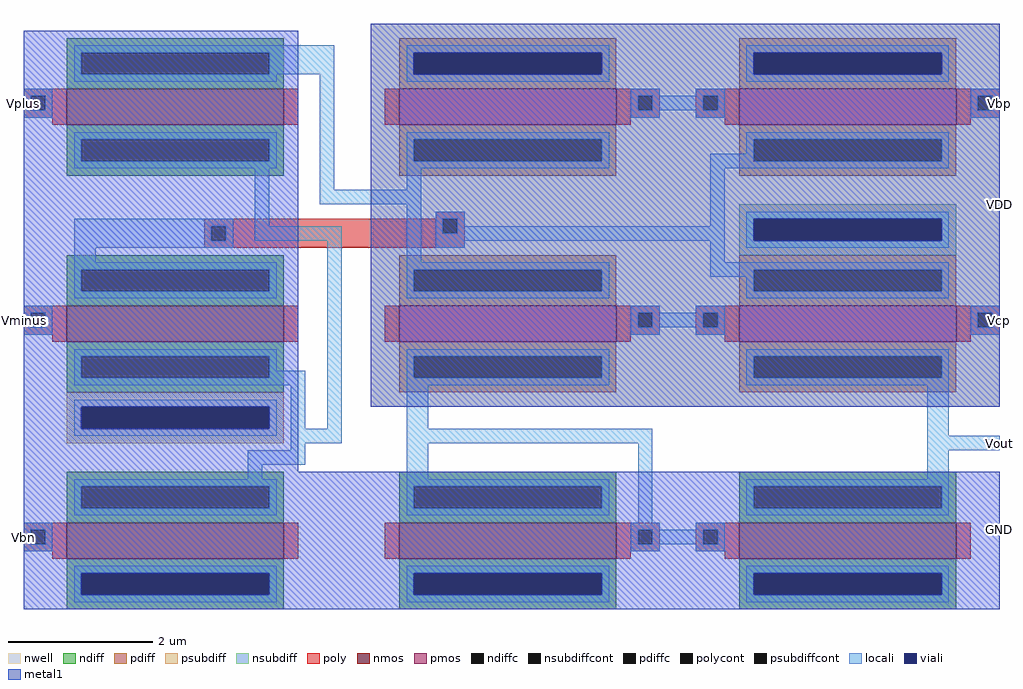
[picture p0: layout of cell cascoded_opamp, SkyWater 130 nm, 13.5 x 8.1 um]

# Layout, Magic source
magic
tech sky130A
<< nwell >>
rect 420 -390 1290 140
<< nmos >>
rect 0 0 300 50
rect 0 -300 300 -250
rect 0 -600 300 -550
rect 460 -600 760 -550
rect 930 -600 1230 -550
<< pmos >>
rect 460 0 760 50
rect 930 0 1230 50
rect 460 -300 760 -250
rect 930 -300 1230 -250
<< ndiff >>
rect 0 100 300 120
rect 0 70 20 100
rect 280 70 300 100
rect 0 50 300 70
rect 0 -20 300 0
rect 0 -50 20 -20
rect 280 -50 300 -20
rect 0 -70 300 -50
rect 0 -200 300 -180
rect 0 -230 20 -200
rect 280 -230 300 -200
rect 0 -250 300 -230
rect 0 -320 300 -300
rect 0 -350 20 -320
rect 280 -350 300 -320
rect 0 -370 300 -350
rect 0 -500 300 -480
rect 0 -530 20 -500
rect 280 -530 300 -500
rect 0 -550 300 -530
rect 460 -500 760 -480
rect 460 -530 480 -500
rect 740 -530 760 -500
rect 460 -550 760 -530
rect 930 -500 1230 -480
rect 930 -530 950 -500
rect 1210 -530 1230 -500
rect 930 -550 1230 -530
rect 0 -620 300 -600
rect 0 -650 20 -620
rect 280 -650 300 -620
rect 0 -670 300 -650
rect 460 -620 760 -600
rect 460 -650 480 -620
rect 740 -650 760 -620
rect 460 -670 760 -650
rect 930 -620 1230 -600
rect 930 -650 950 -620
rect 1210 -650 1230 -620
rect 930 -670 1230 -650
<< pdiff >>
rect 460 100 760 120
rect 460 70 480 100
rect 740 70 760 100
rect 460 50 760 70
rect 930 100 1230 120
rect 930 70 950 100
rect 1210 70 1230 100
rect 930 50 1230 70
rect 460 -20 760 0
rect 460 -50 480 -20
rect 740 -50 760 -20
rect 460 -70 760 -50
rect 930 -20 1230 0
rect 930 -50 950 -20
rect 1210 -50 1230 -20
rect 930 -70 1230 -50
rect 460 -200 760 -180
rect 460 -230 480 -200
rect 740 -230 760 -200
rect 460 -250 760 -230
rect 930 -200 1230 -180
rect 930 -230 950 -200
rect 1210 -230 1230 -200
rect 930 -250 1230 -230
rect 460 -320 760 -300
rect 460 -350 480 -320
rect 740 -350 760 -320
rect 460 -370 760 -350
rect 930 -320 1230 -300
rect 930 -350 950 -320
rect 1210 -350 1230 -320
rect 930 -370 1230 -350
<< ndiffc >>
rect 20 70 280 100
rect 20 -50 280 -20
rect 20 -230 280 -200
rect 20 -350 280 -320
rect 20 -530 280 -500
rect 480 -530 740 -500
rect 950 -530 1210 -500
rect 20 -650 280 -620
rect 480 -650 740 -620
rect 950 -650 1210 -620
<< pdiffc >>
rect 480 70 740 100
rect 950 70 1210 100
rect 480 -50 740 -20
rect 950 -50 1210 -20
rect 480 -230 740 -200
rect 950 -230 1210 -200
rect 480 -350 740 -320
rect 950 -350 1210 -320
<< psubdiff >>
rect 0 -390 300 -370
rect 0 -420 20 -390
rect 280 -420 300 -390
rect 0 -440 300 -420
<< nsubdiff >>
rect 930 -130 1230 -110
rect 930 -160 950 -130
rect 1210 -160 1230 -130
rect 930 -180 1230 -160
<< psubdiffcont >>
rect 20 -420 280 -390
<< nsubdiffcont >>
rect 950 -160 1210 -130
<< poly >>
rect -60 40 0 50
rect -60 20 -50 40
rect -30 20 0 40
rect -60 10 0 20
rect -20 0 0 10
rect 300 0 320 50
rect 440 0 460 50
rect 760 40 820 50
rect 760 20 790 40
rect 810 20 820 40
rect 760 10 820 20
rect 870 40 930 50
rect 870 20 880 40
rect 900 20 930 40
rect 870 10 930 20
rect 760 0 780 10
rect 910 0 930 10
rect 1230 40 1290 50
rect 1230 20 1260 40
rect 1280 20 1290 40
rect 1230 10 1290 20
rect 1230 0 1250 10
rect 510 -130 550 -120
rect 190 -140 520 -130
rect 190 -160 200 -140
rect 220 -150 520 -140
rect 540 -150 550 -130
rect 220 -160 550 -150
rect 190 -170 550 -160
rect -60 -260 0 -250
rect -60 -280 -50 -260
rect -30 -280 0 -260
rect -60 -290 0 -280
rect -20 -300 0 -290
rect 300 -300 320 -250
rect 440 -300 460 -250
rect 760 -260 820 -250
rect 760 -280 790 -260
rect 810 -280 820 -260
rect 760 -290 820 -280
rect 870 -260 930 -250
rect 870 -280 880 -260
rect 900 -280 930 -260
rect 870 -290 930 -280
rect 760 -300 780 -290
rect 910 -300 930 -290
rect 1230 -260 1290 -250
rect 1230 -280 1260 -260
rect 1280 -280 1290 -260
rect 1230 -290 1290 -280
rect 1230 -300 1250 -290
rect -60 -560 0 -550
rect -60 -580 -50 -560
rect -30 -580 0 -560
rect -60 -590 0 -580
rect -20 -600 0 -590
rect 300 -600 320 -550
rect 440 -600 460 -550
rect 760 -560 820 -550
rect 760 -580 790 -560
rect 810 -580 820 -560
rect 760 -590 820 -580
rect 870 -560 930 -550
rect 870 -580 880 -560
rect 900 -580 930 -560
rect 870 -590 930 -580
rect 760 -600 780 -590
rect 910 -600 930 -590
rect 1230 -600 1250 -550
<< polycont >>
rect -50 20 -30 40
rect 790 20 810 40
rect 880 20 900 40
rect 1260 20 1280 40
rect 200 -160 220 -140
rect 520 -150 540 -130
rect -50 -280 -30 -260
rect 790 -280 810 -260
rect 880 -280 900 -260
rect 1260 -280 1280 -260
rect -50 -580 -30 -560
rect 790 -580 810 -560
rect 880 -580 900 -560
<< locali >>
rect 10 100 370 110
rect 10 70 20 100
rect 280 70 370 100
rect 10 60 290 70
rect -60 40 -20 50
rect -60 20 -50 40
rect -30 20 -20 40
rect -60 10 -20 20
rect 10 -20 290 -10
rect 10 -50 20 -20
rect 280 -50 290 -20
rect 10 -60 290 -50
rect 10 -140 230 -130
rect 10 -160 200 -140
rect 220 -160 230 -140
rect 260 -140 280 -60
rect 350 -90 370 70
rect 470 100 750 110
rect 470 70 480 100
rect 740 70 750 100
rect 470 60 750 70
rect 940 100 1220 110
rect 940 70 950 100
rect 1210 70 1220 100
rect 940 60 1220 70
rect 780 40 820 50
rect 870 40 910 50
rect 780 20 790 40
rect 810 20 880 40
rect 900 20 910 40
rect 780 10 820 20
rect 870 10 910 20
rect 1250 40 1290 50
rect 1250 20 1260 40
rect 1280 20 1290 40
rect 1250 10 1290 20
rect 470 -20 750 -10
rect 470 -50 480 -20
rect 740 -50 750 -20
rect 940 -20 1220 -10
rect 940 -40 950 -20
rect 470 -60 750 -50
rect 890 -50 950 -40
rect 1210 -50 1220 -20
rect 890 -60 1220 -50
rect 470 -90 490 -60
rect 350 -110 490 -90
rect 260 -160 380 -140
rect 10 -170 230 -160
rect 10 -190 40 -170
rect 10 -200 290 -190
rect 10 -230 20 -200
rect 280 -230 290 -200
rect 10 -240 290 -230
rect -60 -260 -20 -250
rect -60 -280 -50 -260
rect -30 -280 -20 -260
rect -60 -290 -20 -280
rect 10 -320 290 -310
rect 10 -350 20 -320
rect 280 -340 290 -320
rect 280 -350 330 -340
rect 10 -360 330 -350
rect 10 -390 290 -380
rect 10 -420 20 -390
rect 280 -420 290 -390
rect 10 -430 290 -420
rect 310 -420 330 -360
rect 360 -420 380 -160
rect 470 -190 490 -110
rect 510 -130 550 -120
rect 510 -150 520 -130
rect 540 -140 550 -130
rect 890 -140 910 -60
rect 540 -150 910 -140
rect 510 -160 910 -150
rect 510 -170 550 -160
rect 890 -190 910 -160
rect 940 -130 1220 -120
rect 940 -160 950 -130
rect 1210 -160 1220 -130
rect 940 -170 1220 -160
rect 470 -200 750 -190
rect 470 -230 480 -200
rect 740 -230 750 -200
rect 890 -200 1220 -190
rect 890 -210 950 -200
rect 470 -240 750 -230
rect 940 -230 950 -210
rect 1210 -230 1220 -200
rect 940 -240 1220 -230
rect 780 -260 820 -250
rect 870 -260 910 -250
rect 780 -280 790 -260
rect 810 -280 880 -260
rect 900 -280 910 -260
rect 780 -290 820 -280
rect 870 -290 910 -280
rect 1250 -260 1290 -250
rect 1250 -280 1260 -260
rect 1280 -280 1290 -260
rect 1250 -290 1290 -280
rect 310 -440 380 -420
rect 470 -320 750 -310
rect 470 -350 480 -320
rect 740 -350 750 -320
rect 470 -360 750 -350
rect 940 -320 1220 -310
rect 940 -350 950 -320
rect 1210 -350 1220 -320
rect 940 -360 1220 -350
rect 470 -420 500 -360
rect 470 -440 810 -420
rect 310 -450 330 -440
rect 250 -470 330 -450
rect 250 -490 270 -470
rect 470 -490 500 -440
rect 10 -500 290 -490
rect 10 -530 20 -500
rect 280 -530 290 -500
rect 10 -540 290 -530
rect 470 -500 750 -490
rect 470 -530 480 -500
rect 740 -530 750 -500
rect 470 -540 750 -530
rect 790 -550 810 -440
rect 1190 -430 1220 -360
rect 1190 -450 1290 -430
rect 1190 -490 1220 -450
rect 940 -500 1220 -490
rect 940 -530 950 -500
rect 1210 -530 1220 -500
rect 940 -540 1220 -530
rect -60 -560 -20 -550
rect -60 -580 -50 -560
rect -30 -580 -20 -560
rect -60 -590 -20 -580
rect 780 -560 820 -550
rect 870 -560 910 -550
rect 780 -580 790 -560
rect 810 -580 880 -560
rect 900 -580 910 -560
rect 780 -590 820 -580
rect 870 -590 910 -580
rect 10 -620 290 -610
rect 10 -650 20 -620
rect 280 -650 290 -620
rect 10 -660 290 -650
rect 470 -620 750 -610
rect 470 -650 480 -620
rect 740 -650 750 -620
rect 470 -660 750 -650
rect 940 -620 1220 -610
rect 940 -650 950 -620
rect 1210 -650 1220 -620
rect 940 -660 1220 -650
<< viali >>
rect 480 70 740 100
rect 950 70 1210 100
rect 20 -420 280 -390
rect 950 -160 1210 -130
rect 20 -650 280 -620
rect 480 -650 740 -620
rect 950 -650 1210 -620
<< metal1 >>
rect -60 -390 320 130
rect 420 100 1290 140
rect 420 70 480 100
rect 740 70 950 100
rect 1210 70 1290 100
rect 420 -130 1290 70
rect 420 -160 950 -130
rect 1210 -160 1290 -130
rect 420 -390 1290 -160
rect -60 -420 20 -390
rect 280 -420 320 -390
rect -60 -480 320 -420
rect -60 -620 1290 -480
rect -60 -650 20 -620
rect 280 -650 480 -620
rect 740 -650 950 -620
rect 1210 -650 1290 -620
rect -60 -670 1290 -650
<< labels >>
rlabel locali 1290 30 1290 30 3 Vbp
port 1 e
rlabel locali 1290 -440 1290 -440 3 Vout
port 2 e
rlabel metal1 1290 -560 1290 -560 3 GND
port 3 e
rlabel locali -60 -570 -60 -570 7 Vbn
port 4 w
rlabel locali -60 -270 -60 -270 7 Vminus
port 5 w
rlabel locali -60 30 -60 30 7 Vplus
port 6 w
rlabel metal1 1290 -110 1290 -110 3 VDD
port 7 e
rlabel locali 1290 -270 1290 -270 3 Vcp
port 8 e
<< end >>
